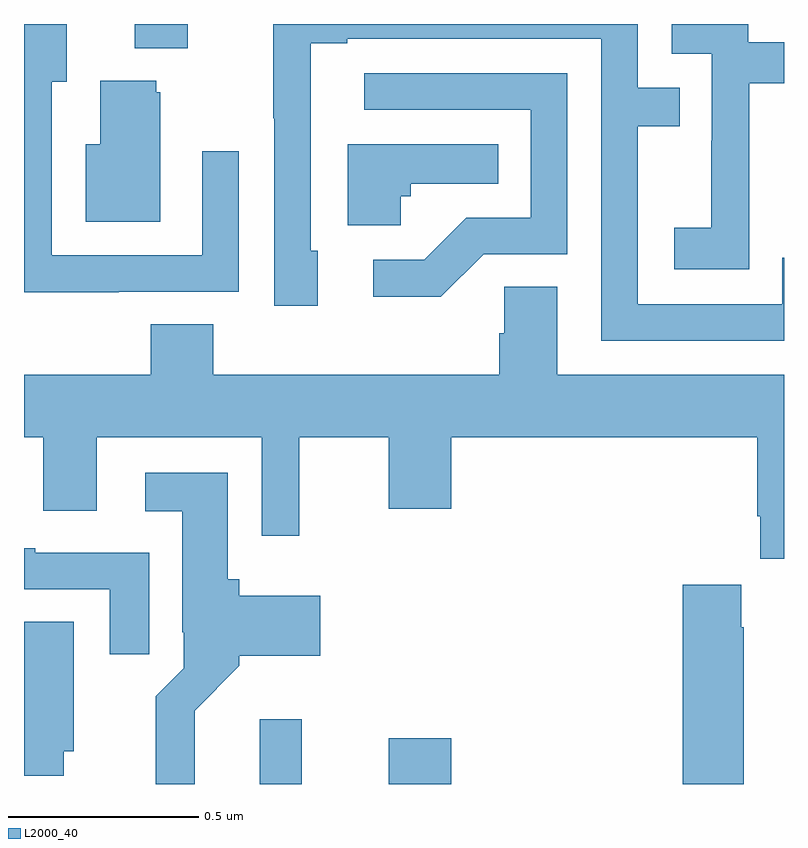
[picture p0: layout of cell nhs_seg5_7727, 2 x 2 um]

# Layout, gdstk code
import gdstk
lib = gdstk.Library(unit=1e-6, precision=1e-09)
def R(c, l, rs):  # rectangles x0, y0, x1, y1
    for r in rs: c.add(gdstk.rectangle(r[:2], r[2:], *l))
def P(c, l, *ps):  # polygons
    for p in ps: c.add(gdstk.Polygon(p, *l))
L2000_40 = (2000, 40)

nhs_seg5_7727 = lib.new_cell('nhs_seg5_7727')
R(nhs_seg5_7727, L2000_40, [(212.621,903.799,212.731,903.97), (212.96,903.799,213.124,903.919), (212.291,905.735,212.431,905.799)])
P(nhs_seg5_7727, L2000_40, [(212.249,905.094),(212.565,905.094),(212.565,905.464),(212.469,905.464),(212.469,905.19),(212.073,905.19),(212.073,905.647),(212.113,905.647),(212.113,905.799),(212,905.799),(212,905.093),(212.249,905.093)],
  [(213.909,905.359),(213.908,905.359),(213.908,905.643),(214,905.643),(214,905.751),(213.906,905.751),(213.906,905.799),(213.705,905.799),(213.705,905.721),(213.81,905.721),(213.81,905.492),(213.809,905.492),(213.809,905.263),(213.711,905.263),(213.711,905.153),(213.909,905.153)],
  [(214,905.184),(213.996,905.184),(213.996,905.061),(213.615,905.061),(213.615,905.53),(213.725,905.53),(213.725,905.631),(213.615,905.631),(213.615,905.799),(212.656,905.799),(212.656,905.551),(212.658,905.551),(212.658,905.058),(212.773,905.058),(212.773,905.202),(212.754,905.202),(212.754,905.748),(212.851,905.748),(212.851,905.76),(213.519,905.76),(213.519,904.965),(214,904.965)],
  [(213.21,905.193),(213.429,905.193),(213.429,905.67),(212.895,905.67),(212.895,905.574),(213.333,905.574),(213.333,905.289),(213.164,905.289),(213.053,905.178),(212.919,905.178),(212.919,905.081),(213.097,905.081)],
  [(212.359,905.619),(212.348,905.619),(212.348,905.65),(212.201,905.65),(212.201,905.482),(212.162,905.482),(212.162,905.279),(212.359,905.279)],
  [(212.991,905.346),(213.018,905.346),(213.018,905.378),(213.248,905.378),(213.248,905.482),(212.852,905.482),(212.852,905.27),(212.991,905.27)],
  [(214,904.876),(213.403,904.876),(213.403,905.108),(213.264,905.108),(213.264,904.985),(213.251,904.985),(213.251,904.876),(212.498,904.876),(212.498,905.009),(212.333,905.009),(212.333,904.876),(212,904.876),(212,904.712),(212.051,904.712),(212.051,904.518),(212.191,904.518),(212.191,904.712),(212.625,904.712),(212.625,904.452),(212.724,904.452),(212.724,904.712),(212.96,904.712),(212.96,904.524),(213.124,904.524),(213.124,904.712),(213.929,904.712),(213.929,904.504),(213.938,904.504),(213.938,904.392),(214,904.392)],
  [(212.449,903.992),(212.567,904.11),(212.567,904.136),(212.779,904.136),(212.779,904.294),(212.567,904.294),(212.567,904.338),(212.536,904.338),(212.536,904.618),(212.319,904.618),(212.319,904.517),(212.417,904.517),(212.417,904.198),(212.421,904.198),(212.421,904.104),(212.347,904.03),(212.347,903.799),(212.449,903.799)],
  [(212.329,904.407),(212.029,904.407),(212.029,904.42),(212,904.42),(212,904.311),(212.225,904.311),(212.225,904.14),(212.329,904.14)],
  [(213.894,904.211),(213.887,904.211),(213.887,904.324),(213.734,904.324),(213.734,903.799),(213.894,903.799)],
  [(212.104,903.885),(212.131,903.885),(212.131,904.226),(212,904.226),(212,903.821),(212.104,903.821)])

lib.write_gds('nhs_seg5_7727.gds')
